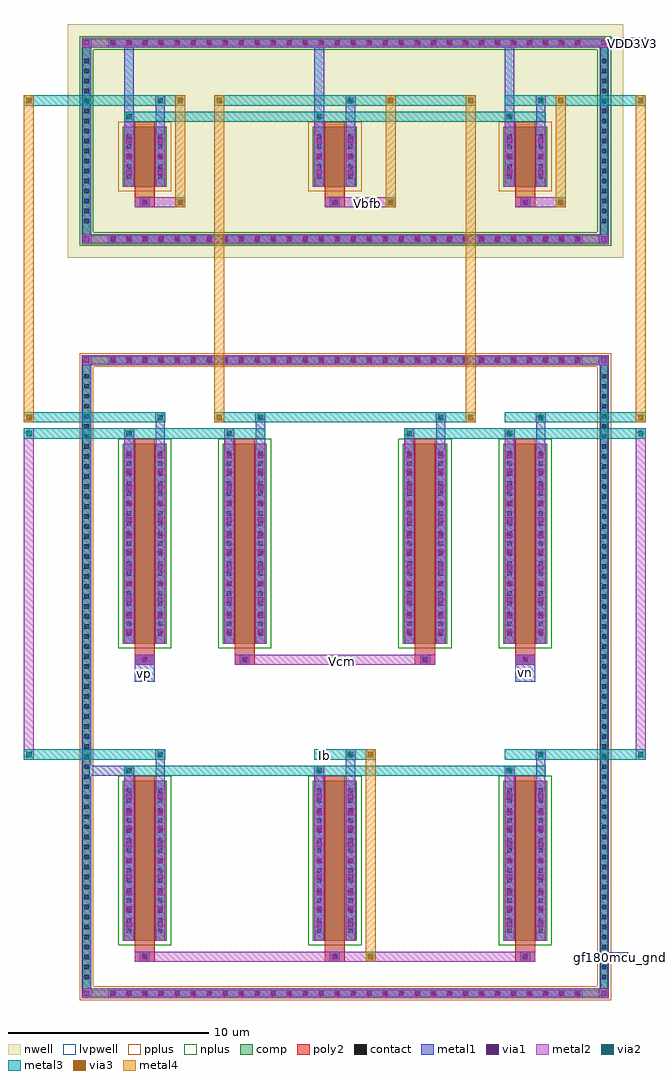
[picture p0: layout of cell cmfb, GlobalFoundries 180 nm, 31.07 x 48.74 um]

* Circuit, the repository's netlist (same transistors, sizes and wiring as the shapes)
** sch_path: /foss/designs/core_pga/folded_cascode/cmfb.sch
.subckt cmfb vp vn gf180mcu_gnd VDD3V3 Ib Vcm Vbfb
*.PININFO gf180mcu_gnd:B VDD3V3:B Ib:B Vcm:B Vbfb:B vp:B vn:B
M20 net3 net3 VDD3V3 VDD3V3 pfet_03v3 L=1u W=3u nf=1
M21 net3 vp net1 gf180mcu_gnd nfet_03v3 L=1u W=10u nf=1
M22 Vbfb Vcm net1 gf180mcu_gnd nfet_03v3 L=1u W=10u nf=1
M23 net1 Ib gf180mcu_gnd gf180mcu_gnd nfet_03v3 L=1u W=8u nf=1
M24 Vbfb Vcm net2 gf180mcu_gnd nfet_03v3 L=1u W=10u nf=1
M25 net4 vn net2 gf180mcu_gnd nfet_03v3 L=1u W=10u nf=1
M26 net2 Ib gf180mcu_gnd gf180mcu_gnd nfet_03v3 L=1u W=8u nf=1
M27 Ib Ib gf180mcu_gnd gf180mcu_gnd nfet_03v3 L=1u W=8u nf=1
M17 net4 net4 VDD3V3 VDD3V3 pfet_03v3 L=1u W=3u nf=1
M18 Vbfb Vbfb VDD3V3 VDD3V3 pfet_03v3 L=1u W=3u nf=1
.ends

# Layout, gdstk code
import gdstk
lib = gdstk.Library(unit=1e-6, precision=5e-09)
def R(c, l, rs):  # rectangles x0, y0, x1, y1
    for r in rs: c.add(gdstk.rectangle(r[:2], r[2:], *l))
def A(c, l, x, y, w, h, nx, ny, dx, dy):  # array of equal rectangles
    R(c, l, [(x+i*dx, y+j*dy, x+i*dx+w, y+j*dy+h) for i in range(nx) for j in range(ny)])
def P(c, l, *ps):  # polygons
    for p in ps: c.add(gdstk.Polygon(p, *l))
nwell = (21, 0)
comp = (22, 0)
poly2 = (30, 0)
pplus = (31, 0)
nplus = (32, 0)
contact = (33, 0)
metal1 = (34, 0)
via1 = (35, 0)
metal2 = (36, 0)
via2 = (38, 0)
via3 = (40, 0)
metal3 = (42, 0)
metal4 = (46, 0)
lvpwell = (204, 0)

cmfb = lib.new_cell('cmfb')
A(cmfb, nwell, -10.95, 32.245, 2.9, 5.83, 3, 1, 9.5, 0)
R(cmfb, nwell, [(-13.35,29.845,14.39,41.525)])
A(cmfb, comp, -11.26, -7.055, 0.36, 0.36, 30, 2, 0.8, 31.62)
A(cmfb, comp, -12.59, -6.245, 0.36, 0.36, 1, 61, 0, 0.5)
A(cmfb, comp, 13.27, -6.245, 0.36, 0.36, 1, 61, 0, 0.5)
A(cmfb, comp, -10.6, -4.255, 2.2, 8, 3, 1, 9.5, 0)
A(cmfb, comp, -11.26, 30.605, 0.36, 0.36, 30, 2, 0.8, 9.8)
A(cmfb, comp, -12.59, 31.505, 0.36, 0.36, 1, 17, 0, 0.5)
A(cmfb, comp, 13.27, 31.505, 0.36, 0.36, 1, 17, 0, 0.5)
A(cmfb, comp, -10.6, 33.405, 2.2, 3, 3, 1, 9.5, 0)
R(cmfb, comp, [(-11.26,-7.055,12.3,-6.695), (-12.59,-6.245,-12.23,24.115), (13.27,-6.245,13.63,24.115), (-10.6,10.575,-8.4,20.575), (-5.6,10.575,-3.4,20.575), (3.4,10.575,5.6,20.575), (8.4,10.575,10.6,20.575), (-11.26,24.565,12.3,24.925), (-11.26,30.605,12.3,30.965), (-12.59,31.505,-12.23,39.865), (13.27,31.505,13.63,39.865), (-11.26,40.405,12.3,40.765)])
P(cmfb, comp, [(-12.59,30.605),(-12.59,30.965),(-12.23,30.965),(13.27,30.965),(13.27,40.405),(-12.23,40.405),(-12.23,30.965),(-12.59,30.965),(-12.59,40.765),(13.63,40.765),(13.63,30.605)],
  [(-12.59,-7.055),(-12.59,-6.695),(-12.23,-6.695),(13.27,-6.695),(13.27,24.565),(-12.23,24.565),(-12.23,-6.695),(-12.59,-6.695),(-12.59,24.925),(13.63,24.925),(13.63,-7.055)])
A(cmfb, poly2, -10, -5.295, 1, 0.5, 3, 2, 9.5, 37.66)
A(cmfb, poly2, -9.68, -5.225, 0.36, 0.36, 3, 2, 9.5, 37.66)
A(cmfb, poly2, -10, -4.795, 1, 0.3, 3, 2, 9.5, 37.66)
A(cmfb, poly2, -10, -4.495, 1, 8.48, 3, 1, 9.5, 0)
A(cmfb, poly2, -10, 33.165, 1, 3.48, 3, 1, 9.5, 0)
R(cmfb, poly2, [(-10,9.535,-9,10.035), (-5,9.535,-4,10.035), (4,9.535,5,10.035), (9,9.535,10,10.035), (-9.68,9.605,-9.32,9.965), (-4.68,9.605,-4.32,9.965), (4.32,9.605,4.68,9.965), (9.32,9.605,9.68,9.965), (-10,10.035,-9,10.335), (-5,10.035,-4,10.335), (4,10.035,5,10.335), (9,10.035,10,10.335), (-10,10.335,-9,20.815), (-5,10.335,-4,20.815), (4,10.335,5,20.815), (9,10.335,10,20.815)])
A(cmfb, pplus, -10.83, 33.175, 2.66, 3.46, 3, 1, 9.5, 0)
P(cmfb, pplus, [(-12.75,-7.215),(-12.75,-6.535),(-12.07,-6.535),(13.11,-6.535),(13.11,24.405),(-12.07,24.405),(-12.07,-6.535),(-12.75,-6.535),(-12.75,25.085),(13.79,25.085),(13.79,-7.215)])
A(cmfb, nplus, -10.83, -4.485, 2.66, 8.46, 3, 1, 9.5, 0)
R(cmfb, nplus, [(-10.83,10.345,-8.17,20.805), (-5.83,10.345,-3.17,20.805), (3.17,10.345,5.83,20.805), (8.17,10.345,10.83,20.805)])
P(cmfb, nplus, [(-12.75,30.445),(-12.75,31.125),(-12.07,31.125),(13.11,31.125),(13.11,40.245),(-12.07,40.245),(-12.07,31.125),(-12.75,31.125),(-12.75,40.925),(13.79,40.925),(13.79,30.445)])
A(cmfb, contact, -11.19, -6.985, 0.22, 0.22, 30, 2, 0.8, 31.62)
A(cmfb, contact, -12.52, -6.175, 0.22, 0.22, 1, 61, 0, 0.5)
A(cmfb, contact, 13.34, -6.175, 0.22, 0.22, 1, 61, 0, 0.5)
A(cmfb, contact, -9.61, -5.155, 0.22, 0.22, 3, 2, 9.5, 37.66)
A(cmfb, contact, -10.39, -3.865, 0.22, 0.22, 1, 15, 0, 0.5)
A(cmfb, contact, -8.83, -3.865, 0.22, 0.22, 1, 15, 0, 0.5)
A(cmfb, contact, -0.89, -3.865, 0.22, 0.22, 1, 15, 0, 0.5)
A(cmfb, contact, 0.67, -3.865, 0.22, 0.22, 1, 15, 0, 0.5)
A(cmfb, contact, 8.61, -3.865, 0.22, 0.22, 1, 15, 0, 0.5)
A(cmfb, contact, 10.17, -3.865, 0.22, 0.22, 1, 15, 0, 0.5)
A(cmfb, contact, -10.39, 10.965, 0.22, 0.22, 1, 19, 0, 0.5)
A(cmfb, contact, -8.83, 10.965, 0.22, 0.22, 1, 19, 0, 0.5)
A(cmfb, contact, -5.39, 10.965, 0.22, 0.22, 1, 19, 0, 0.5)
A(cmfb, contact, -3.83, 10.965, 0.22, 0.22, 1, 19, 0, 0.5)
A(cmfb, contact, 3.61, 10.965, 0.22, 0.22, 1, 19, 0, 0.5)
A(cmfb, contact, 5.17, 10.965, 0.22, 0.22, 1, 19, 0, 0.5)
A(cmfb, contact, 8.61, 10.965, 0.22, 0.22, 1, 19, 0, 0.5)
A(cmfb, contact, 10.17, 10.965, 0.22, 0.22, 1, 19, 0, 0.5)
A(cmfb, contact, -11.19, 30.675, 0.22, 0.22, 30, 2, 0.8, 9.8)
A(cmfb, contact, -12.52, 31.575, 0.22, 0.22, 1, 17, 0, 0.5)
A(cmfb, contact, 13.34, 31.575, 0.22, 0.22, 1, 17, 0, 0.5)
A(cmfb, contact, -10.39, 33.795, 0.22, 0.22, 1, 5, 0, 0.5)
A(cmfb, contact, -8.83, 33.795, 0.22, 0.22, 1, 5, 0, 0.5)
A(cmfb, contact, -0.89, 33.795, 0.22, 0.22, 1, 5, 0, 0.5)
A(cmfb, contact, 0.67, 33.795, 0.22, 0.22, 1, 5, 0, 0.5)
A(cmfb, contact, 8.61, 33.795, 0.22, 0.22, 1, 5, 0, 0.5)
A(cmfb, contact, 10.17, 33.795, 0.22, 0.22, 1, 5, 0, 0.5)
R(cmfb, contact, [(-9.61,9.675,-9.39,9.895), (-4.61,9.675,-4.39,9.895), (4.39,9.675,4.61,9.895), (9.39,9.675,9.61,9.895)])
A(cmfb, metal1, -11.33, -7.125, 0.5, 0.5, 30, 2, 0.8, 31.62)
A(cmfb, metal1, -12.64, -6.295, 0.46, 0.46, 1, 61, 0, 0.5)
A(cmfb, metal1, 13.22, -6.295, 0.46, 0.46, 1, 61, 0, 0.5)
A(cmfb, metal1, -9.75, -5.295, 0.5, 0.5, 3, 2, 9.5, 37.66)
A(cmfb, metal1, -10.51, -3.985, 0.46, 0.46, 1, 15, 0, 0.5)
A(cmfb, metal1, -8.95, -3.985, 0.46, 0.46, 1, 15, 0, 0.5)
A(cmfb, metal1, -1.01, -3.985, 0.46, 0.46, 1, 15, 0, 0.5)
A(cmfb, metal1, 0.55, -3.985, 0.46, 0.46, 1, 15, 0, 0.5)
A(cmfb, metal1, 8.49, -3.985, 0.46, 0.46, 1, 15, 0, 0.5)
A(cmfb, metal1, 10.05, -3.985, 0.46, 0.46, 1, 15, 0, 0.5)
A(cmfb, metal1, -10.53, -3.705, 0.5, 0.5, 1, 9, 0, 0.8)
A(cmfb, metal1, -8.97, -3.705, 0.5, 0.5, 1, 9, 0, 0.8)
A(cmfb, metal1, -1.03, -3.705, 0.5, 0.5, 1, 9, 0, 0.8)
A(cmfb, metal1, 0.53, -3.705, 0.5, 0.5, 1, 9, 0, 0.8)
A(cmfb, metal1, 8.47, -3.705, 0.5, 0.5, 1, 9, 0, 0.8)
A(cmfb, metal1, 10.03, -3.705, 0.5, 0.5, 1, 9, 0, 0.8)
A(cmfb, metal1, -10.51, 3.745, 0.46, 0.75, 3, 1, 9.5, 0)
A(cmfb, metal1, -8.95, 3.745, 0.46, 1.55, 3, 2, 9.5, 32.66)
A(cmfb, metal1, -10.53, 3.995, 0.5, 0.5, 3, 1, 9.5, 0)
A(cmfb, metal1, -8.97, 4.795, 0.5, 0.5, 3, 2, 9.5, 32.66)
A(cmfb, metal1, -10.51, 10.845, 0.46, 0.46, 1, 19, 0, 0.5)
A(cmfb, metal1, -8.95, 10.845, 0.46, 0.46, 1, 19, 0, 0.5)
A(cmfb, metal1, -5.51, 10.845, 0.46, 0.46, 1, 19, 0, 0.5)
A(cmfb, metal1, -3.95, 10.845, 0.46, 0.46, 1, 19, 0, 0.5)
A(cmfb, metal1, 3.49, 10.845, 0.46, 0.46, 1, 19, 0, 0.5)
A(cmfb, metal1, 5.05, 10.845, 0.46, 0.46, 1, 19, 0, 0.5)
A(cmfb, metal1, 8.49, 10.845, 0.46, 0.46, 1, 19, 0, 0.5)
A(cmfb, metal1, 10.05, 10.845, 0.46, 0.46, 1, 19, 0, 0.5)
A(cmfb, metal1, -10.53, 10.925, 0.5, 0.5, 1, 12, 0, 0.8)
A(cmfb, metal1, -8.97, 10.925, 0.5, 0.5, 1, 12, 0, 0.8)
A(cmfb, metal1, -5.53, 10.925, 0.5, 0.5, 1, 12, 0, 0.8)
A(cmfb, metal1, -3.97, 10.925, 0.5, 0.5, 1, 12, 0, 0.8)
A(cmfb, metal1, 3.47, 10.925, 0.5, 0.5, 1, 12, 0, 0.8)
A(cmfb, metal1, 5.03, 10.925, 0.5, 0.5, 1, 12, 0, 0.8)
A(cmfb, metal1, 8.47, 10.925, 0.5, 0.5, 1, 12, 0, 0.8)
A(cmfb, metal1, 10.03, 10.925, 0.5, 0.5, 1, 12, 0, 0.8)
A(cmfb, metal1, -11.33, 30.535, 0.5, 0.5, 30, 2, 0.8, 9.8)
A(cmfb, metal1, -12.64, 31.455, 0.46, 0.46, 1, 17, 0, 0.5)
A(cmfb, metal1, 13.22, 31.455, 0.46, 0.46, 1, 17, 0, 0.5)
A(cmfb, metal1, -10.51, 33.675, 0.46, 0.46, 1, 5, 0, 0.5)
A(cmfb, metal1, -8.95, 33.675, 0.46, 0.46, 1, 5, 0, 0.5)
A(cmfb, metal1, -1.01, 33.675, 0.46, 0.46, 1, 5, 0, 0.5)
A(cmfb, metal1, 0.55, 33.675, 0.46, 0.46, 1, 5, 0, 0.5)
A(cmfb, metal1, 8.49, 33.675, 0.46, 0.46, 1, 5, 0, 0.5)
A(cmfb, metal1, 10.05, 33.675, 0.46, 0.46, 1, 5, 0, 0.5)
A(cmfb, metal1, -10.53, 33.855, 0.5, 0.5, 1, 3, 0, 0.8)
A(cmfb, metal1, -8.97, 33.855, 0.5, 0.5, 1, 3, 0, 0.8)
A(cmfb, metal1, -1.03, 33.855, 0.5, 0.5, 1, 3, 0, 0.8)
A(cmfb, metal1, 0.53, 33.855, 0.5, 0.5, 1, 3, 0, 0.8)
A(cmfb, metal1, 8.47, 33.855, 0.5, 0.5, 1, 3, 0, 0.8)
A(cmfb, metal1, 10.03, 33.855, 0.5, 0.5, 1, 3, 0, 0.8)
R(cmfb, metal1, [(-12.64,-7.125,-12.14,-6.625), (-12.64,-7.125,-12.14,-6.625), (-12.64,-7.125,-12.18,-6.695), (-11.33,-7.125,12.37,-6.625), (13.18,-7.125,13.68,-6.625), (13.18,-7.125,13.68,-6.625), (13.22,-7.125,13.68,-6.695), (-12.64,-6.695,-12.18,24.565), (13.22,-6.695,13.68,24.565), (13.22,-5.295,14.65,-4.835), (-10.51,-4.255,-10.05,3.745), (-8.95,-4.255,-8.49,3.745), (-1.01,-4.255,-0.55,3.745), (0.55,-4.255,1.01,3.745), (8.49,-4.255,8.95,3.745), (10.05,-4.255,10.51,3.745), (-10.53,-3.705,-10.03,3.195), (-8.97,-3.705,-8.47,3.195), (-1.03,-3.705,-0.53,3.195), (0.53,-3.705,1.03,3.195), (8.47,-3.705,8.97,3.195), (10.03,-3.705,10.53,3.195), (-12.64,3.995,-10.02,4.495), (-10,8.69,-9,10.035), (9,8.69,10,10.035), (-9.75,9.535,-9.25,10.035), (-4.75,9.535,-4.25,10.035), (4.25,9.535,4.75,10.035), (9.25,9.535,9.75,10.035), (-10.51,10.575,-10.05,20.575), (-8.95,10.575,-8.49,20.575), (-5.51,10.575,-5.05,20.575), (-3.95,10.575,-3.49,20.575), (3.49,10.575,3.95,20.575), (5.05,10.575,5.51,20.575), (8.49,10.575,8.95,20.575), (10.05,10.575,10.51,20.575), (-10.53,10.925,-10.03,20.225), (-8.97,10.925,-8.47,20.225), (-5.53,10.925,-5.03,20.225), (-3.97,10.925,-3.47,20.225), (3.47,10.925,3.97,20.225), (5.03,10.925,5.53,20.225), (8.47,10.925,8.97,20.225), (10.03,10.925,10.53,20.225), (-10.51,20.575,-10.05,21.325), (-8.95,20.575,-8.49,22.125), (-5.51,20.575,-5.05,21.325), (-3.95,20.575,-3.49,22.125), (3.49,20.575,3.95,21.325), (5.05,20.575,5.51,22.125), (8.49,20.575,8.95,21.325), (10.05,20.575,10.51,22.125), (-10.53,20.825,-10.03,21.325), (-5.53,20.825,-5.03,21.325), (3.47,20.825,3.97,21.325), (8.47,20.825,8.97,21.325), (-8.97,21.625,-8.47,22.125), (-3.97,21.625,-3.47,22.125), (5.03,21.625,5.53,22.125), (10.03,21.625,10.53,22.125), (-12.64,24.495,-12.14,24.995), (-12.64,24.495,-12.14,24.995), (-11.33,24.495,12.37,24.995), (13.18,24.495,13.68,24.995), (13.18,24.495,13.68,24.995), (-12.64,24.565,-12.18,24.995), (13.22,24.565,13.68,24.995), (-12.64,30.535,-12.14,31.035), (-12.64,30.535,-12.14,31.035), (-12.64,30.535,-12.18,30.965), (-11.33,30.535,12.37,31.035), (13.18,30.535,13.68,31.035), (13.18,30.535,13.68,31.035), (13.22,30.535,13.68,30.965), (-12.64,30.965,-12.18,40.405), (13.22,30.965,13.68,40.405), (-10.51,33.405,-10.05,36.405), (-8.95,33.405,-8.49,36.405), (-1.01,33.405,-0.55,36.405), (0.55,33.405,1.01,36.405), (8.49,33.405,8.95,36.405), (10.05,33.405,10.51,36.405), (-10.53,33.855,-10.03,35.955), (-8.97,33.855,-8.47,35.955), (-1.03,33.855,-0.53,35.955), (0.53,33.855,1.03,35.955), (8.47,33.855,8.97,35.955), (10.03,33.855,10.53,35.955), (-10.51,36.405,-10.05,40.835), (-1.01,36.405,-0.55,37.155), (8.49,36.405,8.95,40.835), (-10.53,36.655,-10.03,37.155), (-1.03,36.655,-0.53,40.835), (8.47,36.655,8.97,37.155), (-12.64,40.335,-12.14,40.835), (-12.64,40.335,-12.14,40.835), (-11.33,40.335,12.37,40.835), (11.31,40.335,15.54,40.835), (13.18,40.335,13.68,40.835), (13.18,40.335,13.68,40.835), (-12.64,40.405,-12.18,40.835), (13.22,40.405,13.68,40.835)])
A(cmfb, via1, -11.21, -7.005, 0.26, 0.26, 30, 2, 0.8, 31.62)
A(cmfb, via1, -9.63, -5.175, 0.26, 0.26, 3, 2, 9.5, 37.66)
A(cmfb, via1, -10.41, -3.585, 0.26, 0.26, 1, 9, 0, 0.8)
A(cmfb, via1, -8.85, -3.585, 0.26, 0.26, 1, 9, 0, 0.8)
A(cmfb, via1, -0.91, -3.585, 0.26, 0.26, 1, 9, 0, 0.8)
A(cmfb, via1, 0.65, -3.585, 0.26, 0.26, 1, 9, 0, 0.8)
A(cmfb, via1, 8.59, -3.585, 0.26, 0.26, 1, 9, 0, 0.8)
A(cmfb, via1, 10.15, -3.585, 0.26, 0.26, 1, 9, 0, 0.8)
A(cmfb, via1, -10.41, 4.115, 0.26, 0.26, 3, 2, 9.5, 32.66)
A(cmfb, via1, -8.85, 4.915, 0.26, 0.26, 3, 2, 9.5, 32.66)
A(cmfb, via1, -10.41, 11.045, 0.26, 0.26, 1, 12, 0, 0.8)
A(cmfb, via1, -8.85, 11.045, 0.26, 0.26, 1, 12, 0, 0.8)
A(cmfb, via1, -5.41, 11.045, 0.26, 0.26, 1, 12, 0, 0.8)
A(cmfb, via1, -3.85, 11.045, 0.26, 0.26, 1, 12, 0, 0.8)
A(cmfb, via1, 3.59, 11.045, 0.26, 0.26, 1, 12, 0, 0.8)
A(cmfb, via1, 5.15, 11.045, 0.26, 0.26, 1, 12, 0, 0.8)
A(cmfb, via1, 8.59, 11.045, 0.26, 0.26, 1, 12, 0, 0.8)
A(cmfb, via1, 10.15, 11.045, 0.26, 0.26, 1, 12, 0, 0.8)
A(cmfb, via1, -11.21, 30.655, 0.26, 0.26, 30, 2, 0.8, 9.8)
A(cmfb, via1, -10.41, 33.975, 0.26, 0.26, 1, 3, 0, 0.8)
A(cmfb, via1, -8.85, 33.975, 0.26, 0.26, 1, 3, 0, 0.8)
A(cmfb, via1, -0.91, 33.975, 0.26, 0.26, 1, 3, 0, 0.8)
A(cmfb, via1, 0.65, 33.975, 0.26, 0.26, 1, 3, 0, 0.8)
A(cmfb, via1, 8.59, 33.975, 0.26, 0.26, 1, 3, 0, 0.8)
A(cmfb, via1, 10.15, 33.975, 0.26, 0.26, 1, 3, 0, 0.8)
R(cmfb, via1, [(-12.52,-7.005,-12.26,-6.745), (13.3,-7.005,13.56,-6.745), (-9.63,9.655,-9.37,9.915), (-4.63,9.655,-4.37,9.915), (4.37,9.655,4.63,9.915), (9.37,9.655,9.63,9.915), (-10.41,20.945,-10.15,21.205), (-5.41,20.945,-5.15,21.205), (3.59,20.945,3.85,21.205), (8.59,20.945,8.85,21.205), (-8.85,21.745,-8.59,22.005), (-3.85,21.745,-3.59,22.005), (5.15,21.745,5.41,22.005), (10.15,21.745,10.41,22.005), (-12.52,24.615,-12.26,24.875), (13.3,24.615,13.56,24.875), (-12.52,30.655,-12.26,30.915), (13.3,30.655,13.56,30.915), (-12.52,40.455,-12.26,40.715), (13.3,40.455,13.56,40.715)])
A(cmfb, metal2, -11.33, -7.125, 0.5, 0.5, 30, 2, 0.8, 31.62)
A(cmfb, metal2, -10, -5.295, 1, 0.5, 3, 2, 9.5, 37.66)
A(cmfb, metal2, -10.53, -4.255, 0.5, 8.75, 3, 1, 9.5, 0)
A(cmfb, metal2, -10.53, -3.705, 0.5, 0.5, 1, 9, 0, 0.8)
A(cmfb, metal2, -8.97, -3.705, 0.5, 0.5, 1, 9, 0, 0.8)
A(cmfb, metal2, -1.03, -3.705, 0.5, 0.5, 1, 9, 0, 0.8)
A(cmfb, metal2, 0.53, -3.705, 0.5, 0.5, 1, 9, 0, 0.8)
A(cmfb, metal2, 8.47, -3.705, 0.5, 0.5, 1, 9, 0, 0.8)
A(cmfb, metal2, 10.03, -3.705, 0.5, 0.5, 1, 9, 0, 0.8)
A(cmfb, metal2, -10.53, 3.995, 0.5, 0.5, 3, 2, 9.5, 32.66)
A(cmfb, metal2, -8.97, 4.795, 0.5, 0.5, 3, 2, 9.5, 32.66)
A(cmfb, metal2, -10.53, 10.925, 0.5, 0.5, 1, 12, 0, 0.8)
A(cmfb, metal2, -8.97, 10.925, 0.5, 0.5, 1, 12, 0, 0.8)
A(cmfb, metal2, -5.53, 10.925, 0.5, 0.5, 1, 12, 0, 0.8)
A(cmfb, metal2, -3.97, 10.925, 0.5, 0.5, 1, 12, 0, 0.8)
A(cmfb, metal2, 3.47, 10.925, 0.5, 0.5, 1, 12, 0, 0.8)
A(cmfb, metal2, 5.03, 10.925, 0.5, 0.5, 1, 12, 0, 0.8)
A(cmfb, metal2, 8.47, 10.925, 0.5, 0.5, 1, 12, 0, 0.8)
A(cmfb, metal2, 10.03, 10.925, 0.5, 0.5, 1, 12, 0, 0.8)
A(cmfb, metal2, -15.53, 20.825, 0.5, 0.5, 3, 1, 5, 0)
A(cmfb, metal2, -11.33, 30.535, 0.5, 0.5, 30, 2, 0.8, 9.8)
A(cmfb, metal2, -10.53, 33.405, 0.5, 3.75, 3, 1, 9.5, 0)
A(cmfb, metal2, -10.53, 33.855, 0.5, 0.5, 1, 3, 0, 0.8)
A(cmfb, metal2, -8.97, 33.855, 0.5, 0.5, 1, 3, 0, 0.8)
A(cmfb, metal2, -1.03, 33.855, 0.5, 0.5, 1, 3, 0, 0.8)
A(cmfb, metal2, 0.53, 33.855, 0.5, 0.5, 1, 3, 0, 0.8)
A(cmfb, metal2, 8.47, 33.855, 0.5, 0.5, 1, 3, 0, 0.8)
A(cmfb, metal2, 10.03, 33.855, 0.5, 0.5, 1, 3, 0, 0.8)
R(cmfb, metal2, [(-12.64,-7.125,-12.14,-6.625), (-12.64,-7.125,-12.14,-6.625), (-12.64,-7.125,-12.23,-6.625), (-12.23,-7.125,13.27,-6.625), (13.18,-7.125,13.68,-6.625), (13.18,-7.125,13.68,-6.625), (13.27,-7.125,13.68,-6.625), (-9.75,-5.295,-9.25,-4.795), (-9,-5.295,-0.5,-4.795), (-0.25,-5.295,0.25,-4.795), (0.5,-5.295,2.03,-4.795), (0.5,-5.295,9,-4.795), (1.53,-5.295,2.03,-4.795), (9.25,-5.295,9.75,-4.795), (-10.53,-4.255,-10.03,3.745), (-8.97,-4.255,-8.47,3.745), (-1.03,-4.255,-0.53,3.745), (0.53,-4.255,1.03,3.745), (8.47,-4.255,8.97,3.745), (10.03,-4.255,10.53,3.745), (-15.53,4.795,-15.03,21.325), (-15.53,4.795,-15.03,5.295), (15.03,4.795,15.53,21.325), (15.03,4.795,15.53,5.295), (-10,9.535,-9,10.035), (-9.75,9.535,-9.25,10.035), (-5,9.535,-4,10.035), (-4.75,9.535,-4.25,10.035), (-4,9.535,4,10.035), (4,9.535,5,10.035), (4.25,9.535,4.75,10.035), (9,9.535,10,10.035), (9.25,9.535,9.75,10.035), (-10.53,10.575,-10.03,20.575), (-10.53,10.575,-10.03,21.325), (-8.97,10.575,-8.47,20.575), (-5.53,10.575,-5.03,20.575), (-5.53,10.575,-5.03,21.325), (-3.97,10.575,-3.47,20.575), (3.47,10.575,3.97,20.575), (3.47,10.575,3.97,21.325), (5.03,10.575,5.53,20.575), (8.47,10.575,8.97,20.575), (8.47,10.575,8.97,21.325), (10.03,10.575,10.53,20.575), (3.47,20.825,3.97,21.325), (8.47,20.825,8.97,21.325), (15.03,20.825,15.53,21.325), (-8.97,21.625,-8.47,22.125), (-3.97,21.625,-3.47,22.125), (5.03,21.625,5.53,22.125), (10.03,21.625,10.53,22.125), (-12.64,24.495,-12.14,24.995), (-12.64,24.495,-12.14,24.995), (-12.64,24.495,-12.23,24.995), (-12.23,24.495,13.27,24.995), (13.18,24.495,13.68,24.995), (13.18,24.495,13.68,24.995), (13.27,24.495,13.68,24.995), (-12.64,30.535,-12.14,31.035), (-12.64,30.535,-12.14,31.035), (-12.64,30.535,-12.23,31.035), (-12.23,30.535,13.27,31.035), (13.18,30.535,13.68,31.035), (13.18,30.535,13.68,31.035), (13.27,30.535,13.68,31.035), (-9.75,32.365,-9.25,32.865), (-9,32.365,-7.47,32.865), (-7.97,32.365,-7.47,32.865), (-0.25,32.365,0.25,32.865), (0.5,32.365,3.03,32.865), (2.53,32.365,3.03,32.865), (9.25,32.365,9.75,32.865), (10,32.365,11.53,32.865), (11.03,32.365,11.53,32.865), (-10.53,33.405,-10.03,36.405), (-8.97,33.405,-8.47,36.405), (-1.03,33.405,-0.53,36.405), (0.53,33.405,1.03,36.405), (8.47,33.405,8.97,36.405), (10.03,33.405,10.53,36.405), (-12.64,40.335,-12.14,40.835), (-12.64,40.335,-12.14,40.835), (-12.64,40.335,-12.23,40.835), (-12.23,40.335,13.27,40.835), (13.18,40.335,13.68,40.835), (13.18,40.335,13.68,40.835), (13.27,40.335,13.68,40.835)])
P(cmfb, metal2, [(15.53,20.825),(15.53,21.325),(15.53,21.325),(15.53,20.825)],
  [(-15.03,20.825),(-15.03,21.325),(-15.03,21.325),(-15.03,20.825)],
  [(-15.03,4.795),(-15.03,5.295),(-15.03,5.295),(-15.03,4.795)],
  [(15.53,4.795),(15.53,5.295),(15.53,5.295),(15.53,4.795)])
A(cmfb, via2, -10.41, 4.115, 0.26, 0.26, 3, 2, 9.5, 32.66)
A(cmfb, via2, -8.85, 4.915, 0.26, 0.26, 3, 2, 9.5, 32.66)
A(cmfb, via2, -15.41, 20.945, 0.26, 0.26, 3, 1, 5, 0)
R(cmfb, via2, [(1.65,-5.175,1.91,-4.915), (-15.41,4.915,-15.15,5.175), (15.15,4.915,15.41,5.175), (3.59,20.945,3.85,21.205), (8.59,20.945,8.85,21.205), (15.15,20.945,15.41,21.205), (-8.85,21.745,-8.59,22.005), (-3.85,21.745,-3.59,22.005), (5.15,21.745,5.41,22.005), (10.15,21.745,10.41,22.005), (-7.85,32.485,-7.59,32.745), (2.65,32.485,2.91,32.745), (11.15,32.485,11.41,32.745)])
R(cmfb, via3, [(1.65,-5.175,1.91,-4.915), (1.65,4.915,1.91,5.175), (-15.41,21.745,-15.15,22.005), (-5.91,21.745,-5.65,22.005), (6.65,21.745,6.91,22.005), (15.15,21.745,15.41,22.005), (-7.85,32.485,-7.59,32.745), (2.65,32.485,2.91,32.745), (11.15,32.485,11.41,32.745), (-15.41,37.575,-15.15,37.835), (-7.85,37.575,-7.59,37.835), (-5.91,37.575,-5.65,37.835), (2.65,37.575,2.91,37.835), (6.65,37.575,6.91,37.835), (11.15,37.575,11.41,37.835), (15.15,37.575,15.41,37.835)])
A(cmfb, metal3, -10.53, 3.995, 0.5, 0.5, 3, 2, 9.5, 32.66)
A(cmfb, metal3, -10.53, 3.995, 2.06, 0.5, 3, 2, 9.5, 0.8)
A(cmfb, metal3, -15.53, 20.825, 0.5, 0.5, 3, 1, 5, 0)
A(cmfb, metal3, -10.53, 36.655, 2.06, 0.5, 3, 2, 9.5, 0.8)
R(cmfb, metal3, [(1.53,-5.295,2.03,-4.795), (-8.47,3.995,-1.03,4.495), (1.03,3.995,8.47,4.495), (-15.53,4.795,-15.03,5.295), (-15.53,4.795,-10.53,5.295), (-8.97,4.795,-8.47,5.295), (0.53,4.795,1.03,5.295), (1.03,4.795,2.03,5.295), (1.53,4.795,2.03,5.295), (10.03,4.795,10.53,5.295), (10.53,4.795,15.53,5.295), (15.03,4.795,15.53,5.295), (-15.53,20.825,-10.53,21.325), (-10.53,20.825,-8.47,21.325), (-8.47,20.825,-5.53,21.325), (-5.53,20.825,-3.47,21.325), (3.47,20.825,3.97,21.325), (3.47,20.825,5.53,21.325), (5.53,20.825,8.47,21.325), (8.47,20.825,8.97,21.325), (8.47,20.825,10.53,21.325), (10.53,20.825,15.53,21.325), (15.03,20.825,15.53,21.325), (-15.53,21.625,-15.03,22.125), (-15.53,21.625,-10.53,22.125), (-10.53,21.625,-8.47,22.125), (-8.97,21.625,-8.47,22.125), (-6.03,21.625,-5.53,22.125), (-6.03,21.625,3.47,22.125), (-5.53,21.625,-3.47,22.125), (-3.97,21.625,-3.47,22.125), (-3.47,21.625,7.03,22.125), (3.47,21.625,5.53,22.125), (5.03,21.625,5.53,22.125), (6.53,21.625,7.03,22.125), (8.47,21.625,10.53,22.125), (10.03,21.625,10.53,22.125), (10.53,21.625,15.53,22.125), (15.03,21.625,15.53,22.125), (-7.97,32.365,-7.47,32.865), (2.53,32.365,3.03,32.865), (11.03,32.365,11.53,32.865), (-8.47,36.655,-1.03,37.155), (1.03,36.655,8.47,37.155), (-15.53,37.455,-15.03,37.955), (-15.53,37.455,-10.53,37.955), (-8.97,37.455,-8.47,37.955), (-8.47,37.455,-7.47,37.955), (-7.97,37.455,-7.47,37.955), (-6.03,37.455,-5.53,37.955), (-6.03,37.455,-1.03,37.955), (0.53,37.455,1.03,37.955), (1.03,37.455,7.03,37.955), (1.03,37.455,3.03,37.955), (2.53,37.455,3.03,37.955), (6.53,37.455,7.03,37.955), (10.03,37.455,10.53,37.955), (10.53,37.455,15.53,37.955), (10.53,37.455,11.53,37.955), (11.03,37.455,11.53,37.955), (15.03,37.455,15.53,37.955)])
R(cmfb, metal4, [(1.53,-5.295,2.03,-4.795), (1.53,-5.295,2.03,5.295), (1.53,4.795,2.03,5.295), (-15.53,21.625,-15.03,22.125), (-15.53,21.625,-15.03,37.955), (-6.03,21.625,-5.53,22.125), (-6.03,21.625,-5.53,37.955), (6.53,21.625,7.03,22.125), (6.53,21.625,7.03,37.955), (15.03,21.625,15.53,22.125), (15.03,21.625,15.53,37.955), (-7.97,32.365,-7.47,32.865), (-7.97,32.365,-7.47,37.955), (2.53,32.365,3.03,32.865), (2.53,32.365,3.03,37.955), (11.03,32.365,11.53,32.865), (11.03,32.365,11.53,37.955), (-15.53,37.455,-15.03,37.955), (-7.97,37.455,-7.47,37.955), (-6.03,37.455,-5.53,37.955), (2.53,37.455,3.03,37.955), (6.53,37.455,7.03,37.955), (11.03,37.455,11.53,37.955), (15.03,37.455,15.53,37.955)])
P(cmfb, metal4, [(-5.53,21.625),(-5.53,22.125),(-5.53,22.125),(-5.53,21.625)],
  [(-5.53,37.455),(-5.53,37.955),(-5.53,37.955),(-5.53,37.455)],
  [(7.03,21.625),(7.03,22.125),(7.03,22.125),(7.03,21.625)],
  [(7.03,37.455),(7.03,37.955),(7.03,37.955),(7.03,37.455)],
  [(15.53,21.625),(15.53,22.125),(15.53,22.125),(15.53,21.625)],
  [(15.53,37.455),(15.53,37.955),(15.53,37.955),(15.53,37.455)],
  [(-15.03,21.625),(-15.03,22.125),(-15.03,22.125),(-15.03,21.625)],
  [(-15.03,37.455),(-15.03,37.955),(-15.03,37.955),(-15.03,37.455)],
  [(2.03,-5.295),(2.03,-4.795),(2.03,-4.795),(2.03,-5.295)],
  [(2.03,4.795),(2.03,5.295),(2.03,5.295),(2.03,4.795)],
  [(11.53,32.365),(11.53,32.865),(11.53,32.865),(11.53,32.365)],
  [(11.53,37.455),(11.53,37.955),(11.53,37.955),(11.53,37.455)],
  [(3.03,32.365),(3.03,32.865),(3.03,32.865),(3.03,32.365)],
  [(3.03,37.455),(3.03,37.955),(3.03,37.955),(3.03,37.455)],
  [(-7.47,32.365),(-7.47,32.865),(-7.47,32.865),(-7.47,32.365)],
  [(-7.47,37.455),(-7.47,37.955),(-7.47,37.955),(-7.47,37.455)])
R(cmfb, lvpwell, [(-12.75,-7.215,13.79,25.085)])
cmfb.add(gdstk.Label('gf180mcu_gnd', (14.25,-5.11), layer=34, texttype=10))
cmfb.add(gdstk.Label('VDD3V3', (14.88,40.54), layer=34, texttype=10))
cmfb.add(gdstk.Label('vp', (-9.5,9.11), layer=34, texttype=10))
cmfb.add(gdstk.Label('vn', (9.51,9.14), layer=34, texttype=10))
cmfb.add(gdstk.Label('Ib', (-0.52,5), layer=42, texttype=10))
cmfb.add(gdstk.Label('Vcm', (0.36,9.7), layer=36, texttype=10))
cmfb.add(gdstk.Label('Vbfb', (1.61,32.58), layer=36, texttype=10))

lib.write_gds('cmfb.gds')
